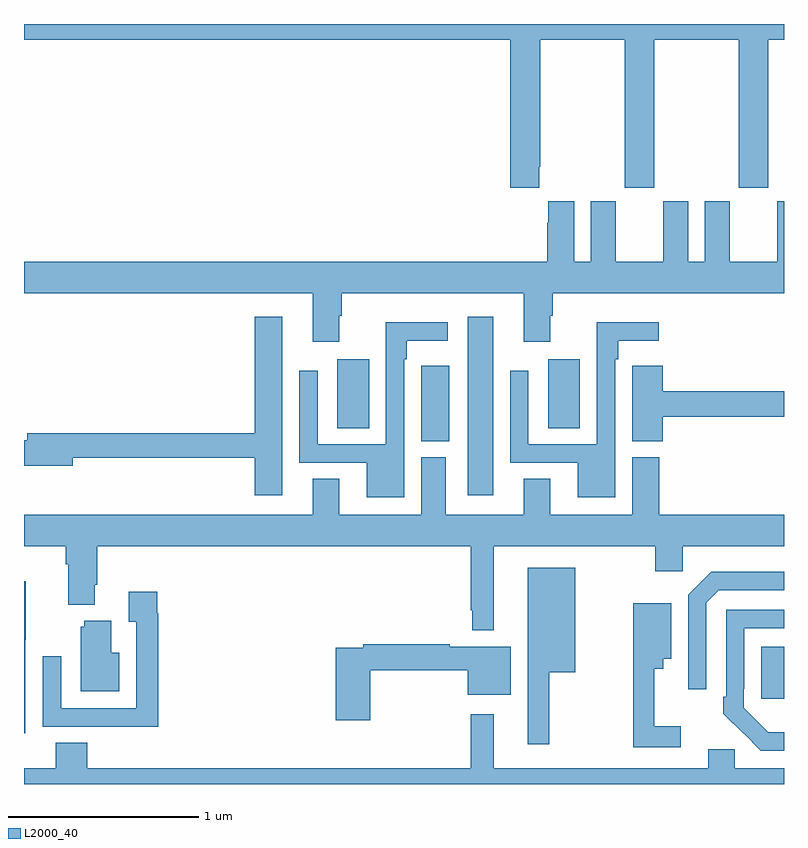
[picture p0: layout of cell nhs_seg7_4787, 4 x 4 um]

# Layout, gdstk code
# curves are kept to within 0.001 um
import gdstk
lib = gdstk.Library(unit=1e-6, precision=1e-09)
def R(c, l, rs):  # rectangles x0, y0, x1, y1
    for r in rs: c.add(gdstk.rectangle(r[:2], r[2:], *l))
def P(c, l, *ps):  # polygons
    for p in ps: c.add(gdstk.Polygon(p, *l))
L2000_40 = (2000, 40)

nhs_seg7_4787 = lib.new_cell('nhs_seg7_4787')
R(nhs_seg7_4787, L2000_40, [(414.881,1030.449,415,1030.723), (413.336,1031.52,413.47,1032.46), (413.09,1031.805,413.239,1032.202), (412.649,1031.872,412.816,1032.235), (413.759,1031.872,413.926,1032.235)])
P(nhs_seg7_4787, L2000_40, [(411,1033.916),(413.558,1033.916),(413.558,1033.137),(413.713,1033.137),(413.713,1033.249),(413.718,1033.249),(413.718,1033.916),(414.163,1033.916),(414.163,1033.137),(414.318,1033.137),(414.318,1033.916),(414.763,1033.916),(414.763,1033.137),(414.918,1033.137),(414.918,1033.916),(415,1033.916),(415,1034),(411,1034)],
  [(412.66,1032.464),(412.673,1032.464),(412.673,1032.584),(413.63,1032.584),(413.63,1032.327),(413.77,1032.327),(413.77,1032.464),(413.783,1032.464),(413.783,1032.584),(415,1032.584),(415,1033.066),(414.965,1033.066),(414.965,1032.748),(414.715,1032.748),(414.715,1033.066),(414.584,1033.066),(414.584,1032.748),(414.496,1032.748),(414.496,1033.066),(414.365,1033.066),(414.365,1032.748),(414.115,1032.748),(414.115,1033.066),(413.984,1033.066),(413.984,1032.748),(413.896,1032.748),(413.896,1033.066),(413.759,1033.066),(413.759,1032.953),(413.753,1032.953),(413.753,1032.748),(411,1032.748),(411,1032.584),(412.52,1032.584),(412.52,1032.327),(412.66,1032.327)],
  [(412.36,1032.46),(412.214,1032.46),(412.214,1031.846),(411.017,1031.846),(411.017,1031.81),(411,1031.81),(411,1031.675),(411.256,1031.675),(411.256,1031.718),(412.214,1031.718),(412.214,1031.52),(412.36,1031.52)],
  [(413.001,1032.236),(413.014,1032.236),(413.014,1032.332),(413.23,1032.332),(413.23,1032.43),(412.905,1032.43),(412.905,1031.787),(412.545,1031.787),(412.545,1032.175),(412.449,1032.175),(412.449,1031.691),(412.805,1031.691),(412.805,1031.51),(413.001,1031.51)],
  [(414.111,1032.236),(414.127,1032.236),(414.127,1032.332),(414.34,1032.332),(414.34,1032.43),(414.015,1032.43),(414.015,1031.787),(413.655,1031.787),(413.655,1032.175),(413.559,1032.175),(413.559,1031.691),(413.915,1031.691),(413.915,1031.51),(414.111,1031.51)],
  [(414.362,1031.932),(415,1031.932),(415,1032.068),(414.362,1032.068),(414.362,1032.202),(414.201,1032.202),(414.201,1032.089),(414.2,1032.089),(414.2,1031.805),(414.362,1031.805)],
  [(413.473,1031.252),(414.322,1031.252),(414.322,1031.121),(414.468,1031.121),(414.468,1031.252),(415,1031.252),(415,1031.416),(414.344,1031.416),(414.344,1031.721),(414.2,1031.721),(414.2,1031.416),(413.77,1031.416),(413.77,1031.606),(413.63,1031.606),(413.63,1031.416),(413.221,1031.416),(413.221,1031.721),(413.09,1031.721),(413.09,1031.416),(412.66,1031.416),(412.66,1031.606),(412.52,1031.606),(412.52,1031.416),(411,1031.416),(411,1031.252),(411.221,1031.252),(411.221,1031.156),(411.233,1031.156),(411.233,1030.943),(411.373,1030.943),(411.373,1031.05),(411.386,1031.05),(411.386,1031.252),(413.352,1031.252),(413.352,1030.915),(413.358,1030.915),(413.358,1030.808),(413.473,1030.808)],
  [(413.765,1030.589),(413.902,1030.589),(413.902,1031.137),(413.651,1031.137),(413.651,1030.209),(413.765,1030.209)],
  [(414.591,1030.953),(414.657,1031.019),(415,1031.019),(415,1031.116),(414.616,1031.116),(414.495,1030.995),(414.495,1030.5),(414.591,1030.5)],
  [(411.006,1030.759),(411.009,1030.759),(411.009,1031.066),(411,1031.066),(411,1030.266),(411.006,1030.266)],
  [(411.707,1030.898),(411.7,1030.898),(411.7,1031.011),(411.551,1031.011),(411.551,1030.855),(411.591,1030.855),(411.591,1030.398),(411.195,1030.398),(411.195,1030.672),(411.099,1030.672),(411.099,1030.302),(411.415,1030.302),(411.415,1030.301),(411.707,1030.301)],
  [(414.457,1030.303),(414.317,1030.303),(414.317,1030.607),(414.364,1030.607),(414.364,1030.658),(414.406,1030.658),(414.406,1030.951),(414.206,1030.951),(414.206,1030.711),(414.207,1030.711),(414.207,1030.194),(414.457,1030.194)],
  [(415,1030.273),(414.918,1030.273),(414.789,1030.401),(414.789,1030.501),(414.792,1030.501),(414.792,1030.821),(415,1030.821),(415,1030.917),(414.696,1030.917),(414.696,1030.459),(414.681,1030.459),(414.681,1030.371),(414.878,1030.176),(415,1030.176)],
  [(411.502,1030.69),(411.46,1030.69),(411.46,1030.858),(411.317,1030.858),(411.317,1030.827),(411.299,1030.827),(411.299,1030.487),(411.502,1030.487)],
  [(412.823,1030.6),(413.336,1030.6),(413.336,1030.469),(413.563,1030.469),(413.563,1030.723),(413.24,1030.723),(413.24,1030.736),(412.786,1030.736),(412.786,1030.716),(412.64,1030.716),(412.64,1030.335),(412.823,1030.335)],
  [(415,1030.084),(414.741,1030.084),(414.741,1030.182),(414.602,1030.182),(414.602,1030.084),(413.473,1030.084),(413.473,1030.366),(413.352,1030.366),(413.352,1030.084),(411.332,1030.084),(411.332,1030.217),(411.167,1030.217),(411.167,1030.084),(411,1030.084),(411,1030),(415,1030)])

lib.write_gds('nhs_seg7_4787.gds')
